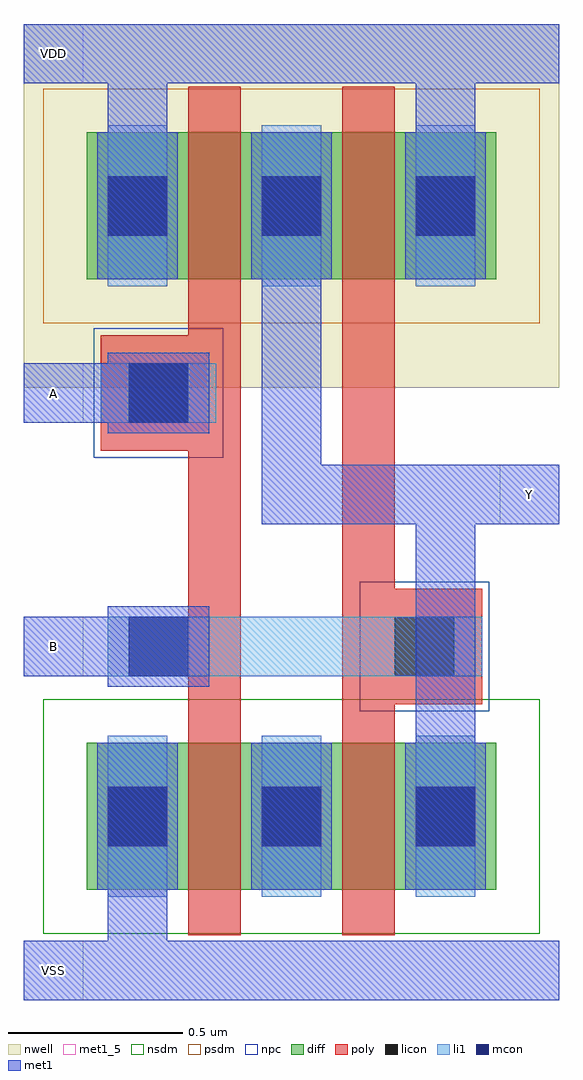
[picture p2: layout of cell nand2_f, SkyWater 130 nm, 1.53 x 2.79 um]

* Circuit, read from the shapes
.subckt nand2_f A B VDD VSS Y
XM1 n1 A VSS VSUBS sky130_fd_pr__nfet_01v8 w=0.42 l=0.15
XM2 Y B n1 VSUBS sky130_fd_pr__nfet_01v8 w=0.42 l=0.15
XM3 Y A VDD n2 sky130_fd_pr__pfet_01v8 w=0.42 l=0.15
XM4 VDD B Y n2 sky130_fd_pr__pfet_01v8 w=0.42 l=0.15
.ends

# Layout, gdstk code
import gdstk
lib = gdstk.Library(unit=1e-6, precision=5e-09)
def R(c, l, rs):  # rectangles x0, y0, x1, y1
    for r in rs: c.add(gdstk.rectangle(r[:2], r[2:], *l))
def A(c, l, x, y, w, h, nx, ny, dx, dy):  # array of equal rectangles
    R(c, l, [(x+i*dx, y+j*dy, x+i*dx+w, y+j*dy+h) for i in range(nx) for j in range(ny)])
nwell = (64, 20)
diff = (65, 20)
poly = (66, 20)
licon = (66, 44)
li1 = (67, 20)
mcon = (67, 44)
met1_5 = (68, 5)
met1 = (68, 20)
nsdm = (93, 44)
psdm = (94, 20)
npc = (95, 20)

nand2_f = lib.new_cell('nand2_f')
R(nand2_f, nwell, [(0,2.44,1.53,3.48)])
R(nand2_f, diff, [(0.18,1.005,1.35,1.425), (0.18,2.75,1.35,3.17)])
R(nand2_f, poly, [(0.47,0.875,0.62,2.26), (0.91,0.875,1.06,1.535), (0.91,1.535,1.31,1.865), (0.91,1.865,1.06,3.3), (0.22,2.26,0.62,2.59), (0.47,2.59,0.62,3.3)])
A(nand2_f, licon, 0.24, 1.13, 0.17, 0.17, 3, 2, 0.44, 1.745)
R(nand2_f, licon, [(1.06,1.615,1.23,1.785), (0.3,2.34,0.47,2.51)])
A(nand2_f, li1, 0.24, 0.985, 0.17, 0.46, 3, 2, 0.44, 1.745)
R(nand2_f, li1, [(0.24,1.615,1.31,1.785), (0.22,2.34,0.55,2.51)])
A(nand2_f, mcon, 0.24, 1.13, 0.17, 0.17, 3, 2, 0.44, 1.745)
R(nand2_f, mcon, [(0.3,1.615,0.47,1.785), (0.3,2.34,0.47,2.51)])
R(nand2_f, met1_5, [(0,0.69,0.17,0.86), (0,1.615,0.17,1.785), (1.36,2.05,1.53,2.22), (0,2.34,0.17,2.51), (0,3.31,0.17,3.48)])
A(nand2_f, met1, 0.21, 1.005, 0.23, 0.42, 3, 2, 0.44, 1.745)
R(nand2_f, met1, [(0,0.69,1.53,0.86), (0.24,0.86,0.41,1.005), (1.12,1.425,1.29,2.05), (0.24,1.585,0.53,1.615), (0,1.615,0.53,1.785), (0.24,1.785,0.53,1.815), (0.68,2.05,1.53,2.22), (0.68,2.22,0.85,2.75), (0.24,2.31,0.53,2.34), (0,2.34,0.53,2.51), (0.24,2.51,0.53,2.54), (0.24,3.17,0.41,3.31), (1.12,3.17,1.29,3.31), (0,3.31,1.53,3.48)])
R(nand2_f, nsdm, [(0.055,0.88,1.475,1.55)])
R(nand2_f, psdm, [(0.055,2.625,1.475,3.295)])
R(nand2_f, npc, [(0.96,1.515,1.33,1.885), (0.2,2.24,0.57,2.61)])
nand2_f.add(gdstk.Label('VDD', (0.085,3.395), layer=68, texttype=5))
nand2_f.add(gdstk.Label('A', (0.085,2.425), layer=68, texttype=5))
nand2_f.add(gdstk.Label('B', (0.085,1.7), layer=68, texttype=5))
nand2_f.add(gdstk.Label('VSS', (0.085,0.775), layer=68, texttype=5))
nand2_f.add(gdstk.Label('Y', (1.445,2.135), layer=68, texttype=5))

lib.write_gds('nand2_f.gds')
